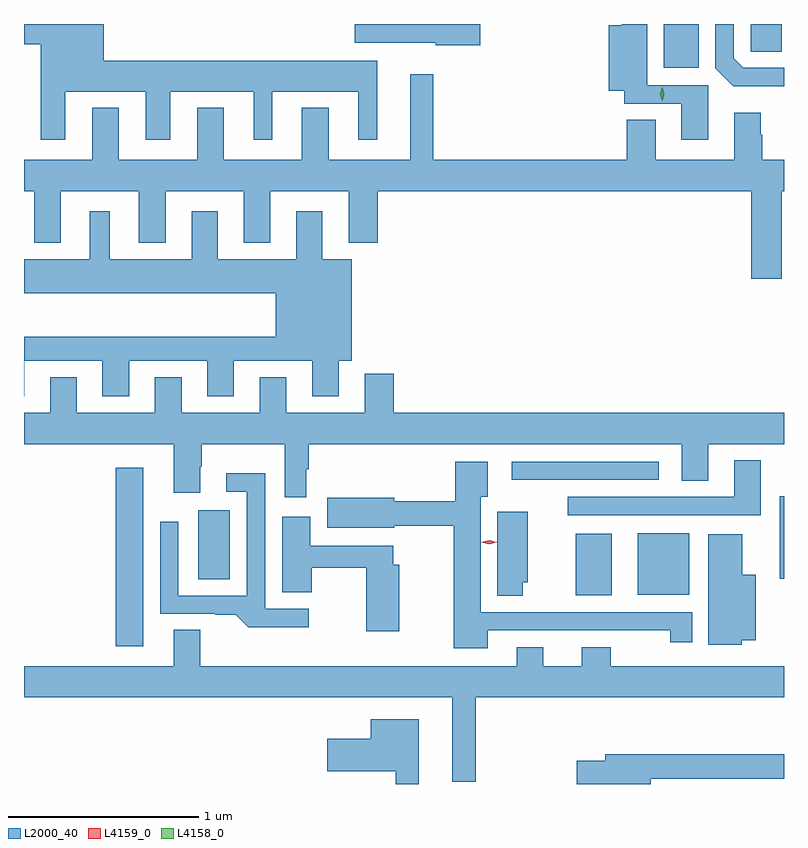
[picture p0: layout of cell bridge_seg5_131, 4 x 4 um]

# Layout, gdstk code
import gdstk
lib = gdstk.Library(unit=1e-6, precision=1e-09)
def R(c, l, rs):  # rectangles x0, y0, x1, y1
    for r in rs: c.add(gdstk.rectangle(r[:2], r[2:], *l))
def P(c, l, *ps):  # polygons
    for p in ps: c.add(gdstk.Polygon(p, *l))
L2000_40 = (2000, 40)
L4158_0 = (4158, 0)
L4159_0 = (4159, 0)

bridge_seg5_131 = lib.new_cell('bridge_seg5_131')
R(bridge_seg5_131, L2000_40, [(304.322,892.992,304.468,893.932), (306.743,893.261,306.934,893.584), (307.07,893.264,307.342,893.587), (304.757,893.344,304.924,893.707), (307.817,893.348,307.84,893.782), (306.408,893.868,307.18,893.964), (307.208,896.036,307.39,896.267)])
P(bridge_seg5_131, L2000_40, [(306.241,896.267),(305.58,896.267),(305.58,896.168),(306.006,896.168),(306.006,896.156),(306.241,896.156)],
  [(304.057,895.91),(304.481,895.91),(304.481,895.659),(304.609,895.659),(304.609,895.91),(305.048,895.91),(305.048,895.659),(305.146,895.659),(305.146,895.91),(305.6,895.91),(305.6,895.659),(305.698,895.659),(305.698,896.074),(304.261,896.074),(304.261,896.267),(303.84,896.267),(303.84,896.161),(303.929,896.161),(303.929,895.659),(304.057,895.659)],
  [(307.84,896.037),(307.626,896.037),(307.575,896.088),(307.575,896.267),(307.479,896.267),(307.479,896.034),(307.573,895.94),(307.84,895.94)],
  [(307.827,896.267),(307.664,896.267),(307.664,896.233),(307.665,896.233),(307.665,896.122),(307.827,896.122)],
  [(307.441,895.944),(307.12,895.944),(307.12,896.267),(306.986,896.267),(306.986,896.26),(306.917,896.26),(306.917,895.916),(306.998,895.916),(306.998,895.848),(307.298,895.848),(307.298,895.659),(307.441,895.659)],
  [(307.827,895.388),(307.84,895.388),(307.84,895.552),(307.725,895.552),(307.725,895.685),(307.717,895.685),(307.717,895.801),(307.577,895.801),(307.577,895.552),(307.165,895.552),(307.165,895.763),(307.013,895.763),(307.013,895.552),(305.995,895.552),(305.995,896.002),(305.873,896.002),(305.873,895.552),(305.443,895.552),(305.443,895.825),(305.303,895.825),(305.303,895.552),(304.891,895.552),(304.891,895.825),(304.751,895.825),(304.751,895.552),(304.339,895.552),(304.339,895.825),(304.199,895.825),(304.199,895.552),(303.84,895.552),(303.84,895.388),(303.893,895.388),(303.893,895.115),(304.033,895.115),(304.033,895.388),(304.445,895.388),(304.445,895.115),(304.585,895.115),(304.585,895.388),(304.997,895.388),(304.997,895.115),(305.137,895.115),(305.137,895.388),(305.549,895.388),(305.549,895.115),(305.702,895.115),(305.702,895.388),(307.667,895.388),(307.667,894.927),(307.827,894.927)],
  [(303.841,894.494),(304.253,894.494),(304.253,894.309),(304.393,894.309),(304.393,894.494),(304.805,894.494),(304.805,894.309),(304.945,894.309),(304.945,894.494),(305.357,894.494),(305.357,894.309),(305.497,894.309),(305.497,894.494),(305.566,894.494),(305.566,895.03),(305.41,895.03),(305.41,895.282),(305.273,895.282),(305.273,895.03),(304.861,895.03),(304.861,895.282),(304.724,895.282),(304.724,895.03),(304.291,895.03),(304.291,895.282),(304.187,895.282),(304.187,895.03),(303.84,895.03),(303.84,894.851),(305.165,894.851),(305.165,894.622),(303.84,894.622),(303.84,894.309),(303.841,894.309)],
  [(305.326,893.924),(305.339,893.924),(305.339,894.056),(307.301,894.056),(307.301,893.863),(307.441,893.863),(307.441,894.056),(307.84,894.056),(307.84,894.22),(305.786,894.22),(305.786,894.427),(305.633,894.427),(305.633,894.22),(305.221,894.22),(305.221,894.409),(305.081,894.409),(305.081,894.22),(304.669,894.22),(304.669,894.409),(304.529,894.409),(304.529,894.22),(304.117,894.22),(304.117,894.409),(303.977,894.409),(303.977,894.22),(303.84,894.22),(303.84,894.056),(304.628,894.056),(304.628,893.799),(304.768,893.799),(304.768,893.936),(304.776,893.936),(304.776,894.056),(305.213,894.056),(305.213,893.775),(305.326,893.775)],
  [(307.717,893.971),(307.577,893.971),(307.577,893.778),(306.702,893.778),(306.702,893.682),(307.717,893.682)],
  [(306.28,893.076),(307.012,893.076),(307.012,893.075),(307.24,893.075),(307.24,893.013),(307.357,893.013),(307.357,893.172),(306.244,893.172),(306.244,893.78),(306.28,893.78),(306.28,893.962),(306.11,893.962),(306.11,893.755),(305.788,893.755),(305.788,893.773),(305.436,893.773),(305.436,893.615),(305.788,893.615),(305.788,893.626),(306.103,893.626),(306.103,892.982),(306.28,892.982)],
  [(305.338,893.19),(305.109,893.19),(305.109,893.902),(304.905,893.902),(304.905,893.805),(305.013,893.805),(305.013,893.259),(304.653,893.259),(304.653,893.647),(304.557,893.647),(304.557,893.163),(304.847,893.163),(304.847,893.158),(304.955,893.158),(305.021,893.093),(305.338,893.093)],
  [(306.466,893.328),(306.49,893.328),(306.49,893.701),(306.332,893.701),(306.332,893.257),(306.466,893.257)],
  [(305.814,893.422),(305.784,893.422),(305.784,893.52),(305.347,893.52),(305.347,893.674),(305.198,893.674),(305.198,893.275),(305.355,893.275),(305.355,893.404),(305.641,893.404),(305.641,893.07),(305.814,893.07)],
  [(307.617,893.024),(307.69,893.024),(307.69,893.368),(307.621,893.368),(307.621,893.581),(307.442,893.581),(307.442,893),(307.617,893)],
  [(306.217,892.724),(307.84,892.724),(307.84,892.888),(306.929,892.888),(306.929,892.987),(306.776,892.987),(306.776,892.888),(306.574,892.888),(306.574,892.987),(306.434,892.987),(306.434,892.888),(304.768,892.888),(304.768,893.078),(304.628,893.078),(304.628,892.888),(303.84,892.888),(303.84,892.724),(306.095,892.724),(306.095,892.28),(306.217,892.28)],
  [(305.917,892.609),(305.666,892.609),(305.666,892.504),(305.436,892.504),(305.436,892.334),(305.796,892.334),(305.796,892.267),(305.917,892.267)],
  [(307.138,892.294),(307.84,892.294),(307.84,892.423),(306.899,892.423),(306.899,892.389),(306.75,892.389),(306.75,892.267),(307.138,892.267)])
P(bridge_seg5_131, L4158_0, [(307.199,895.862),(307.199,895.862),(307.189,895.897),(307.199,895.933),(307.199,895.933),(307.199,895.933),(307.209,895.897),(307.199,895.862)])
P(bridge_seg5_131, L4159_0, [(306.288,893.53),(306.247,893.54),(306.247,893.54),(306.247,893.54),(306.288,893.55),(306.328,893.539),(306.329,893.539),(306.328,893.539)])

lib.write_gds('bridge_seg5_131.gds')
